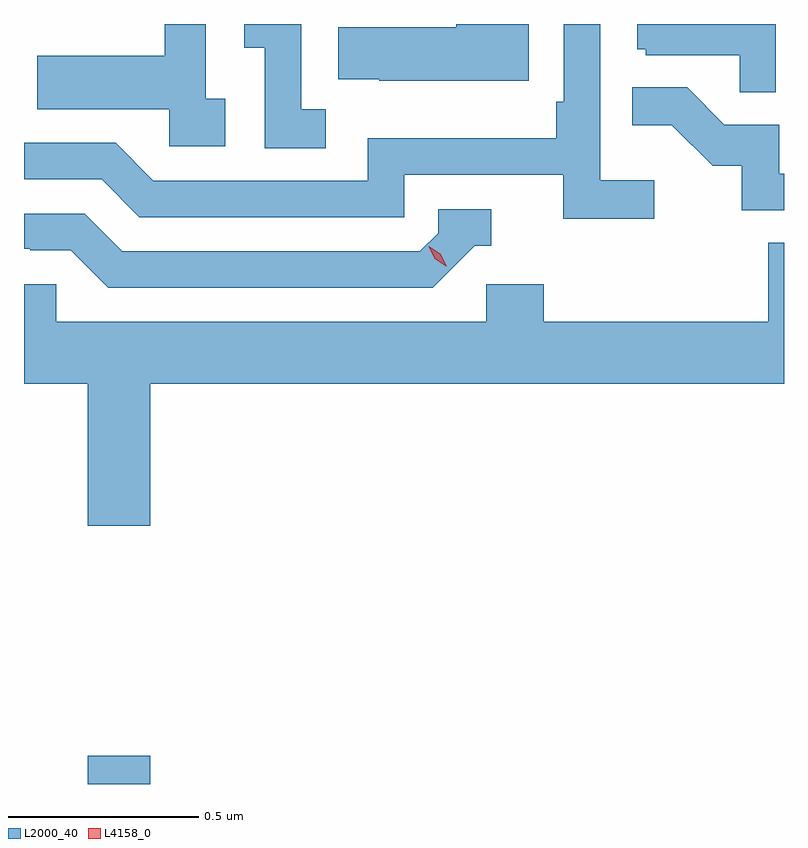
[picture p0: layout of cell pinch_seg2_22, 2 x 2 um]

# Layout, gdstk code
import gdstk
lib = gdstk.Library(unit=1e-6, precision=1e-09)
def R(c, l, rs):  # rectangles x0, y0, x1, y1
    for r in rs: c.add(gdstk.rectangle(r[:2], r[2:], *l))
def P(c, l, *ps):  # polygons
    for p in ps: c.add(gdstk.Polygon(p, *l))
L2000_40 = (2000, 40)
L4158_0 = (4158, 0)

pinch_seg2_22 = lib.new_cell('pinch_seg2_22')
R(pinch_seg2_22, L2000_40, [(1112.06,651.911,1112.224,651.985)])
P(pinch_seg2_22, L2000_40, [(1113.55,653.5),(1113.408,653.5),(1113.408,653.911),(1113.312,653.911),(1113.312,653.707),(1113.292,653.707),(1113.292,653.611),(1112.796,653.611),(1112.796,653.499),(1112.232,653.499),(1112.133,653.598),(1111.892,653.598),(1111.892,653.502),(1112.096,653.502),(1112.195,653.403),(1112.892,653.403),(1112.892,653.514),(1113.311,653.514),(1113.311,653.398),(1113.55,653.398)],
  [(1112.686,653.687),(1112.622,653.687),(1112.622,653.911),(1112.471,653.911),(1112.471,653.848),(1112.526,653.848),(1112.526,653.584),(1112.686,653.584)],
  [(1112.422,653.714),(1112.37,653.714),(1112.37,653.911),(1112.262,653.911),(1112.262,653.827),(1111.927,653.827),(1111.927,653.687),(1112.274,653.687),(1112.274,653.589),(1112.422,653.589)],
  [(1113.87,653.911),(1113.506,653.911),(1113.506,653.844),(1113.528,653.844),(1113.528,653.829),(1113.775,653.829),(1113.775,653.731),(1113.87,653.731)],
  [(1113.22,653.91),(1113.029,653.91),(1113.029,653.902),(1112.719,653.902),(1112.719,653.765),(1112.827,653.765),(1112.827,653.762),(1113.22,653.762)],
  [(1113.892,653.517),(1113.879,653.517),(1113.879,653.646),(1113.735,653.646),(1113.637,653.744),(1113.493,653.744),(1113.493,653.645),(1113.597,653.645),(1113.704,653.538),(1113.781,653.538),(1113.781,653.421),(1113.892,653.421)],
  [(1113.078,653.328),(1113.121,653.328),(1113.121,653.424),(1112.982,653.424),(1112.982,653.361),(1112.934,653.313),(1112.151,653.313),(1112.052,653.412),(1111.892,653.412),(1111.892,653.319),(1111.908,653.319),(1111.908,653.316),(1112.015,653.316),(1112.114,653.217),(1112.967,653.217)],
  [(1112.224,652.964),(1113.892,652.964),(1113.892,653.336),(1113.851,653.336),(1113.851,653.128),(1113.26,653.128),(1113.26,653.226),(1113.108,653.226),(1113.108,653.128),(1111.977,653.128),(1111.977,653.226),(1111.892,653.226),(1111.892,652.964),(1112.06,652.964),(1112.06,652.59),(1112.224,652.59)])
P(pinch_seg2_22, L4158_0, [(1113.003,653.273),(1112.973,653.293),(1112.957,653.326),(1112.957,653.326),(1112.957,653.326),(1112.988,653.306),(1113.004,653.274),(1113.004,653.273)])

lib.write_gds('pinch_seg2_22.gds')
